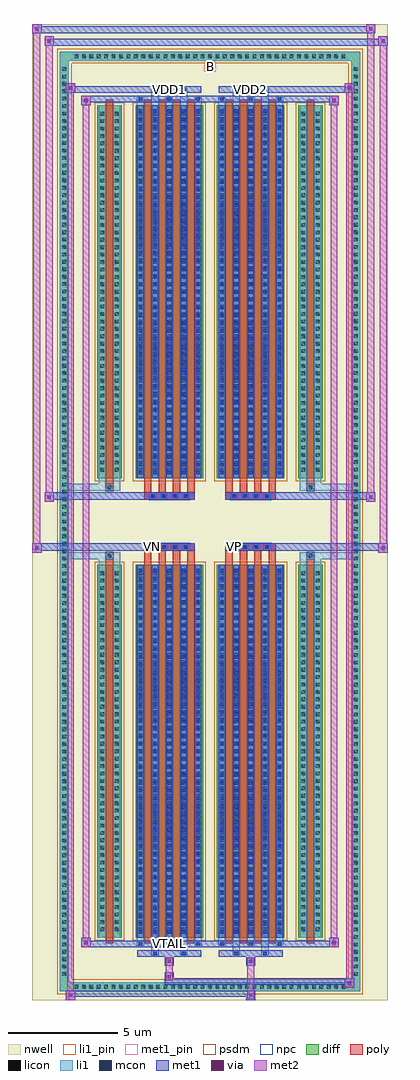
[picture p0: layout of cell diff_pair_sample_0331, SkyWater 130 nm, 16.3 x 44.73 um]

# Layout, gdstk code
import gdstk
lib = gdstk.Library(unit=1e-6, precision=5e-09)
def R(c, l, rs):  # rectangles x0, y0, x1, y1
    for r in rs: c.add(gdstk.rectangle(r[:2], r[2:], *l))
def A(c, l, x, y, w, h, nx, ny, dx, dy):  # array of equal rectangles
    R(c, l, [(x+i*dx, y+j*dy, x+i*dx+w, y+j*dy+h) for i in range(nx) for j in range(ny)])
def P(c, l, *ps):  # polygons
    for p in ps: c.add(gdstk.Polygon(p, *l))
nwell = (64, 20)
diff = (65, 20)
poly = (66, 20)
licon = (66, 44)
li1_pin = (67, 16)
li1 = (67, 20)
mcon = (67, 44)
met1_pin = (68, 16)
met1 = (68, 20)
via = (68, 44)
met2 = (69, 20)
psdm = (94, 20)
npc = (95, 20)

diff_pair_sample_0331 = lib.new_cell('diff_pair_sample_0331')
R(diff_pair_sample_0331, nwell, [(-8.15,-21.93,8.15,22.8), (-5.47,-20.12,-0.01,-0.8), (0.01,-20.12,5.47,-0.8), (-5.47,0.8,-0.01,20.12), (0.01,0.8,5.47,20.12)])
A(diff_pair_sample_0331, diff, -6.325, -21.53, 0.41, 0.41, 37, 2, 0.34, 42.65)
A(diff_pair_sample_0331, diff, -6.88, -20.945, 0.41, 0.41, 1, 123, 0, 0.34)
A(diff_pair_sample_0331, diff, 6.47, -20.945, 0.41, 0.41, 1, 123, 0, 0.34)
R(diff_pair_sample_0331, diff, [(-6.325,-21.53,6.325,-21.12), (-6.88,-20.945,-6.47,20.945), (6.47,-20.945,6.88,20.945), (-5.16,-19.075,-4.05,-1.985), (-3.41,-19.075,-0.32,-1.985), (0.32,-19.075,3.41,-1.985), (4.05,-19.075,5.16,-1.985), (-5.16,1.985,-4.05,19.075), (-3.41,1.985,-0.32,19.075), (0.32,1.985,3.41,19.075), (4.05,1.985,5.16,19.075), (-6.325,21.12,6.325,21.53)])
P(diff_pair_sample_0331, diff, [(6.88,21.53),(-6.88,21.53),(-6.88,-21.12),(-6.47,-21.12),(-6.47,21.12),(6.47,21.12),(6.47,-21.12),(-6.47,-21.12),(-6.88,-21.12),(-6.88,-21.53),(6.88,-21.53)])
A(diff_pair_sample_0331, poly, -3.02, -19.325, 0.33, 17.59, 4, 2, 0.66, 21.06)
A(diff_pair_sample_0331, poly, 0.71, -19.325, 0.33, 17.59, 4, 2, 0.66, 21.06)
A(diff_pair_sample_0331, poly, -3.02, -1.735, 0.33, 0.405, 4, 2, 0.66, 3.065)
A(diff_pair_sample_0331, poly, 0.71, -1.735, 0.33, 0.405, 4, 2, 0.66, 3.065)
A(diff_pair_sample_0331, poly, -2.78, -1.33, 0.33, 0.33, 4, 2, 0.5, 2.33)
A(diff_pair_sample_0331, poly, 0.95, -1.33, 0.33, 0.33, 4, 2, 0.5, 2.33)
R(diff_pair_sample_0331, poly, [(-4.77,-19.325,-4.44,-1.735), (4.44,-19.325,4.77,-1.735), (-4.77,-1.735,-4.44,-1.405), (-4.77,-1.735,-4.44,-1.405), (4.44,-1.735,4.77,-1.405), (4.44,-1.735,4.77,-1.405), (-3.02,-1.33,-0.71,-1), (0.71,-1.33,3.02,-1), (-3.02,1,-0.71,1.33), (0.71,1,3.02,1.33), (-4.77,1.405,-4.44,1.735), (-4.77,1.405,-4.44,1.735), (4.44,1.405,4.77,1.735), (4.44,1.405,4.77,1.735), (-4.77,1.735,-4.44,19.325), (4.44,1.735,4.77,19.325)])
A(diff_pair_sample_0331, licon, -6.205, -21.41, 0.17, 0.17, 37, 2, 0.34, 42.65)
A(diff_pair_sample_0331, licon, -6.76, -20.825, 0.17, 0.17, 1, 123, 0, 0.34)
A(diff_pair_sample_0331, licon, 6.59, -20.825, 0.17, 0.17, 1, 123, 0, 0.34)
A(diff_pair_sample_0331, licon, -5.02, -18.775, 0.17, 0.17, 1, 49, 0, 0.34)
A(diff_pair_sample_0331, licon, -4.36, -18.775, 0.17, 0.17, 1, 49, 0, 0.34)
A(diff_pair_sample_0331, licon, -3.27, -18.775, 0.17, 0.17, 5, 49, 0.66, 0.34)
A(diff_pair_sample_0331, licon, 0.46, -18.775, 0.17, 0.17, 5, 49, 0.66, 0.34)
A(diff_pair_sample_0331, licon, 4.19, -18.775, 0.17, 0.17, 1, 49, 0, 0.34)
A(diff_pair_sample_0331, licon, 4.85, -18.775, 0.17, 0.17, 1, 49, 0, 0.34)
A(diff_pair_sample_0331, licon, -2.7, -1.25, 0.17, 0.17, 4, 2, 0.5, 2.33)
A(diff_pair_sample_0331, licon, 1.03, -1.25, 0.17, 0.17, 4, 2, 0.5, 2.33)
A(diff_pair_sample_0331, licon, -5.02, 2.285, 0.17, 0.17, 1, 49, 0, 0.34)
A(diff_pair_sample_0331, licon, -4.36, 2.285, 0.17, 0.17, 1, 49, 0, 0.34)
A(diff_pair_sample_0331, licon, -3.27, 2.285, 0.17, 0.17, 5, 49, 0.66, 0.34)
A(diff_pair_sample_0331, licon, 0.46, 2.285, 0.17, 0.17, 5, 49, 0.66, 0.34)
A(diff_pair_sample_0331, licon, 4.19, 2.285, 0.17, 0.17, 1, 49, 0, 0.34)
A(diff_pair_sample_0331, licon, 4.85, 2.285, 0.17, 0.17, 1, 49, 0, 0.34)
R(diff_pair_sample_0331, licon, [(-4.69,-1.655,-4.52,-1.485), (4.52,-1.655,4.69,-1.485), (-4.69,1.485,-4.52,1.655), (4.52,1.485,4.69,1.655)])
R(diff_pair_sample_0331, li1_pin, [(-0.25,20.62,0.25,21.12)])
A(diff_pair_sample_0331, li1, -6.285, -21.49, 0.33, 0.33, 37, 2, 0.34, 42.65)
A(diff_pair_sample_0331, li1, -6.84, -20.905, 0.33, 0.33, 1, 123, 0, 0.34)
A(diff_pair_sample_0331, li1, 6.51, -20.905, 0.33, 0.33, 1, 123, 0, 0.34)
A(diff_pair_sample_0331, li1, -3.35, -19.45, 0.33, 0.375, 3, 2, 1.32, 38.525)
A(diff_pair_sample_0331, li1, -3.27, -19.45, 0.17, 0.17, 3, 2, 1.32, 38.73)
A(diff_pair_sample_0331, li1, 0.38, -19.45, 0.33, 0.375, 3, 2, 1.32, 38.525)
A(diff_pair_sample_0331, li1, 0.46, -19.45, 0.17, 0.17, 3, 2, 1.32, 38.73)
A(diff_pair_sample_0331, li1, -3.35, -19.075, 0.33, 17.09, 5, 2, 0.66, 21.06)
A(diff_pair_sample_0331, li1, 0.38, -19.075, 0.33, 17.09, 5, 2, 0.66, 21.06)
A(diff_pair_sample_0331, li1, -3.27, -18.895, 0.17, 0.17, 5, 47, 0.66, 0.36)
A(diff_pair_sample_0331, li1, -3.27, -18.895, 0.17, 16.73, 5, 2, 0.66, 21.06)
A(diff_pair_sample_0331, li1, 0.46, -18.895, 0.17, 0.17, 5, 47, 0.66, 0.36)
A(diff_pair_sample_0331, li1, 0.46, -18.895, 0.17, 16.73, 5, 2, 0.66, 21.06)
A(diff_pair_sample_0331, li1, -5.1, -18.855, 0.33, 0.33, 1, 49, 0, 0.34)
A(diff_pair_sample_0331, li1, -4.44, -18.855, 0.33, 0.33, 1, 49, 0, 0.34)
A(diff_pair_sample_0331, li1, -3.35, -18.855, 0.33, 0.33, 5, 49, 0.66, 0.34)
A(diff_pair_sample_0331, li1, 0.38, -18.855, 0.33, 0.33, 5, 49, 0.66, 0.34)
A(diff_pair_sample_0331, li1, 4.11, -18.855, 0.33, 0.33, 1, 49, 0, 0.34)
A(diff_pair_sample_0331, li1, 4.77, -18.855, 0.33, 0.33, 1, 49, 0, 0.34)
A(diff_pair_sample_0331, li1, -5.1, -1.735, 0.33, 0.33, 3, 2, 0.33, 3.14)
A(diff_pair_sample_0331, li1, 4.11, -1.735, 0.33, 0.33, 3, 2, 0.33, 3.14)
A(diff_pair_sample_0331, li1, -2.78, -1.33, 0.33, 0.33, 4, 2, 0.5, 2.33)
A(diff_pair_sample_0331, li1, 0.95, -1.33, 0.33, 0.33, 4, 2, 0.5, 2.33)
A(diff_pair_sample_0331, li1, -3.27, 2.165, 0.17, 0.17, 5, 47, 0.66, 0.36)
A(diff_pair_sample_0331, li1, 0.46, 2.165, 0.17, 0.17, 5, 47, 0.66, 0.36)
A(diff_pair_sample_0331, li1, -5.1, 2.205, 0.33, 0.33, 1, 49, 0, 0.34)
A(diff_pair_sample_0331, li1, -4.44, 2.205, 0.33, 0.33, 1, 49, 0, 0.34)
A(diff_pair_sample_0331, li1, -3.35, 2.205, 0.33, 0.33, 5, 49, 0.66, 0.34)
A(diff_pair_sample_0331, li1, 0.38, 2.205, 0.33, 0.33, 5, 49, 0.66, 0.34)
A(diff_pair_sample_0331, li1, 4.11, 2.205, 0.33, 0.33, 1, 49, 0, 0.34)
A(diff_pair_sample_0331, li1, 4.77, 2.205, 0.33, 0.33, 1, 49, 0, 0.34)
R(diff_pair_sample_0331, li1, [(-6.88,-21.53,-6.47,-21.12), (-6.88,-21.53,-6.47,-21.12), (-6.47,-21.53,6.47,-21.12), (6.47,-21.53,6.88,-21.12), (6.47,-21.53,6.88,-21.12), (-6.88,-21.12,-6.47,21.12), (6.47,-21.12,6.88,21.12), (-2.69,-19.88,-2.36,-19.075), (-2.61,-19.88,-2.44,-19.71), (-1.37,-19.88,-1.04,-19.075), (-1.29,-19.88,-1.12,-19.71), (1.04,-19.88,1.37,-19.075), (1.12,-19.88,1.29,-19.71), (2.36,-19.88,2.69,-19.075), (2.44,-19.88,2.61,-19.71), (-5.1,-19.075,-4.77,-1.985), (-4.44,-19.075,-4.11,-1.985), (4.11,-19.075,4.44,-1.985), (4.77,-19.075,5.1,-1.985), (-5.1,-1.985,-4.77,-1.405), (-4.44,-1.985,-4.11,-1.405), (4.11,-1.985,4.44,-1.405), (4.77,-1.985,5.1,-1.405), (-6.88,-1.735,-4.77,-1.405), (4.44,-1.735,6.88,-1.405), (-6.88,1.405,-4.77,1.735), (-5.1,1.405,-4.77,1.985), (-4.44,1.405,-4.11,1.985), (4.11,1.405,4.44,1.985), (4.44,1.405,6.88,1.735), (4.77,1.405,5.1,1.985), (-5.1,1.985,-4.77,19.075), (-4.44,1.985,-4.11,19.075), (4.11,1.985,4.44,19.075), (4.77,1.985,5.1,19.075), (-2.69,19.075,-2.36,19.88), (-1.37,19.075,-1.04,19.88), (1.04,19.075,1.37,19.88), (2.36,19.075,2.69,19.88), (-2.61,19.71,-2.44,19.88), (-1.29,19.71,-1.12,19.88), (1.12,19.71,1.29,19.88), (2.44,19.71,2.61,19.88), (-6.88,21.12,-6.47,21.53), (-6.88,21.12,-6.47,21.53), (-6.47,21.12,6.47,21.53), (6.47,21.12,6.88,21.53), (6.47,21.12,6.88,21.53)])
A(diff_pair_sample_0331, mcon, -3.27, -19.45, 0.17, 0.17, 3, 2, 1.32, 38.73)
A(diff_pair_sample_0331, mcon, 0.46, -19.45, 0.17, 0.17, 3, 2, 1.32, 38.73)
A(diff_pair_sample_0331, mcon, -3.27, -18.895, 0.17, 0.17, 5, 47, 0.66, 0.36)
A(diff_pair_sample_0331, mcon, 0.46, -18.895, 0.17, 0.17, 5, 47, 0.66, 0.36)
A(diff_pair_sample_0331, mcon, -2.7, -1.25, 0.17, 0.17, 4, 2, 0.5, 2.33)
A(diff_pair_sample_0331, mcon, 1.03, -1.25, 0.17, 0.17, 4, 2, 0.5, 2.33)
A(diff_pair_sample_0331, mcon, -3.27, 2.165, 0.17, 0.17, 5, 47, 0.66, 0.36)
A(diff_pair_sample_0331, mcon, 0.46, 2.165, 0.17, 0.17, 5, 47, 0.66, 0.36)
R(diff_pair_sample_0331, mcon, [(-2.61,-19.88,-2.44,-19.71), (-1.29,-19.88,-1.12,-19.71), (1.12,-19.88,1.29,-19.71), (2.44,-19.88,2.61,-19.71), (-2.61,19.71,-2.44,19.88), (-1.29,19.71,-1.12,19.88), (1.12,19.71,1.29,19.88), (2.44,19.71,2.61,19.88)])
R(diff_pair_sample_0331, met1_pin, [(-2,-19.49,-1.73,-19.22), (-2.75,-1.29,-2.48,-1.02), (0.98,-1.29,1.25,-1.02), (-2,19.67,-1.73,19.94), (1.73,19.67,2,19.94)])
A(diff_pair_sample_0331, met1, -3.33, -19.51, 0.29, 0.29, 3, 2, 1.32, 38.73)
A(diff_pair_sample_0331, met1, 0.4, -19.51, 0.29, 0.29, 3, 2, 1.32, 38.73)
A(diff_pair_sample_0331, met1, -3.33, -19.075, 0.29, 17.09, 5, 2, 0.66, 21.06)
A(diff_pair_sample_0331, met1, 0.4, -19.075, 0.29, 17.09, 5, 2, 0.66, 21.06)
A(diff_pair_sample_0331, met1, -3.33, -18.955, 0.29, 0.29, 5, 47, 0.66, 0.36)
A(diff_pair_sample_0331, met1, 0.4, -18.955, 0.29, 0.29, 5, 47, 0.66, 0.36)
A(diff_pair_sample_0331, met1, -2.76, -1.31, 0.29, 0.29, 4, 2, 0.5, 2.33)
A(diff_pair_sample_0331, met1, 0.97, -1.31, 0.29, 0.29, 4, 2, 0.5, 2.33)
A(diff_pair_sample_0331, met1, -3.33, 2.105, 0.29, 0.29, 5, 47, 0.66, 0.36)
A(diff_pair_sample_0331, met1, 0.4, 2.105, 0.29, 0.29, 5, 47, 0.66, 0.36)
R(diff_pair_sample_0331, met1, [(-6.61,-21.93,-6.18,-21.5), (1.65,-21.93,2.08,-21.5), (-6.61,-21.79,2.08,-21.5), (6.18,-21.36,6.61,-20.93), (-2.08,-21.22,6.61,-20.93), (-2.08,-21.08,-1.65,-20.65), (-2.08,-20.37,-1.65,-19.94), (1.65,-20.37,2.08,-19.94), (-3.33,-19.94,-0.4,-19.65), (-2.67,-19.94,-2.38,-19.65), (-1.35,-19.94,-1.06,-19.65), (0.4,-19.94,3.33,-19.65), (1.06,-19.94,1.35,-19.65), (2.38,-19.94,2.67,-19.65), (-5.9,-19.51,-5.47,-19.08), (-5.9,-19.51,-3.33,-19.22), (-3.33,-19.51,-0.4,-19.22), (-0.4,-19.51,0.4,-19.22), (0.4,-19.51,3.33,-19.22), (3.33,-19.51,5.9,-19.22), (5.47,-19.51,5.9,-19.08), (-8.15,-1.43,-7.72,-1), (7.72,-1.43,8.15,-1), (-8.15,-1.33,-0.71,-1), (-3.02,-1.33,-0.71,-1), (0.71,-1.33,3.02,-1), (0.71,-1.33,8.15,-1), (-7.58,0.9,-7.15,1.33), (7.15,0.9,7.58,1.33), (-7.58,1,-3.02,1.33), (-3.02,1,-0.71,1.33), (0.71,1,3.02,1.33), (3.02,1,7.58,1.33), (-5.9,19.08,-5.47,19.51), (5.47,19.08,5.9,19.51), (-5.9,19.22,-3.33,19.51), (-3.33,19.22,-0.4,19.51), (-0.4,19.22,0.4,19.51), (0.4,19.22,3.33,19.51), (3.33,19.22,5.9,19.51), (-6.61,19.65,-6.18,20.08), (-6.61,19.65,-3.33,19.94), (-3.33,19.65,-0.4,19.94), (-2.67,19.65,-2.38,19.94), (-1.35,19.65,-1.06,19.94), (0.4,19.65,3.33,19.94), (1.06,19.65,1.35,19.94), (2.38,19.65,2.67,19.94), (3.33,19.65,6.61,19.94), (6.18,19.65,6.61,20.08), (-7.58,21.8,-7.15,22.23), (-7.58,21.8,-5.47,22.13), (-5.47,21.8,5.47,22.13), (5.47,21.8,8.15,22.13), (7.72,21.8,8.15,22.23), (-8.15,22.37,-7.72,22.8), (-8.15,22.37,-5.47,22.7), (-5.47,22.37,5.47,22.7), (5.47,22.37,7.58,22.7), (7.15,22.37,7.58,22.8)])
R(diff_pair_sample_0331, via, [(-6.47,-21.79,-6.32,-21.64), (1.79,-21.79,1.94,-21.64), (6.32,-21.22,6.47,-21.07), (-1.94,-20.94,-1.79,-20.79), (-1.94,-20.23,-1.79,-20.08), (1.79,-20.23,1.94,-20.08), (-5.76,-19.37,-5.61,-19.22), (5.61,-19.37,5.76,-19.22), (-8.01,-1.29,-7.86,-1.14), (7.86,-1.29,8.01,-1.14), (-7.44,1.04,-7.29,1.19), (7.29,1.04,7.44,1.19), (-5.76,19.22,-5.61,19.37), (5.61,19.22,5.76,19.37), (-6.47,19.79,-6.32,19.94), (6.32,19.79,6.47,19.94), (-7.44,21.94,-7.29,22.09), (7.86,21.94,8.01,22.09), (-8.01,22.51,-7.86,22.66), (7.29,22.51,7.44,22.66)])
R(diff_pair_sample_0331, met2, [(-6.61,-21.93,-6.18,-21.5), (-6.54,-21.93,-6.25,20.08), (-6.25,-21.93,-6.18,-21.5), (-6.56,-21.88,-6.23,-21.55), (1.7,-21.88,2.03,-21.55), (1.7,-21.55,2.03,-20.32), (6.18,-21.36,6.61,-20.93), (6.25,-21.36,6.54,20.08), (6.54,-21.36,6.61,-20.93), (6.23,-21.31,6.56,-20.98), (-2.03,-21.03,-1.7,-20.7), (-2.03,-20.7,-1.7,-20.32), (-2.03,-20.32,-1.7,-19.99), (1.7,-20.32,2.03,-19.99), (-5.9,-19.51,-5.47,-19.08), (-5.83,-19.51,-5.54,19.51), (-5.54,-19.51,-5.47,-19.08), (5.47,-19.51,5.9,-19.08), (5.54,-19.51,5.83,19.51), (5.83,-19.51,5.9,-19.08), (-5.85,-19.46,-5.52,-19.13), (5.52,-19.46,5.85,-19.13), (-8.15,-1.43,-7.72,-1), (-8.1,-1.43,-7.77,22.8), (-7.77,-1.43,-7.72,-1), (7.72,-1.43,8.15,-1), (7.77,-1.43,8.1,22.23), (8.1,-1.43,8.15,-1), (-8.1,-1.38,-7.77,-1.05), (7.77,-1.38,8.1,-1.05), (-7.58,0.9,-7.15,1.33), (-7.53,0.9,-7.2,22.23), (-7.2,0.9,-7.15,1.33), (7.15,0.9,7.58,1.33), (7.2,0.9,7.53,22.8), (7.53,0.9,7.58,1.33), (-7.53,0.95,-7.2,1.28), (7.2,0.95,7.53,1.28), (-5.9,19.08,-5.47,19.51), (-5.54,19.08,-5.47,19.51), (5.47,19.08,5.9,19.51), (5.83,19.08,5.9,19.51), (-5.85,19.13,-5.52,19.46), (5.52,19.13,5.85,19.46), (-6.61,19.65,-6.18,20.08), (-6.25,19.65,-6.18,20.08), (6.18,19.65,6.61,20.08), (6.54,19.65,6.61,20.08), (-6.56,19.7,-6.23,20.03), (6.23,19.7,6.56,20.03), (-7.58,21.8,-7.15,22.23), (-7.2,21.8,-7.15,22.23), (7.72,21.8,8.15,22.23), (8.1,21.8,8.15,22.23), (-7.53,21.85,-7.2,22.18), (7.77,21.85,8.1,22.18), (-8.15,22.37,-7.72,22.8), (-7.77,22.37,-7.72,22.8), (7.15,22.37,7.58,22.8), (7.53,22.37,7.58,22.8), (-8.1,22.42,-7.77,22.75), (7.2,22.42,7.53,22.75)])
R(diff_pair_sample_0331, psdm, [(-5.29,-19.205,-3.92,-1.855), (-3.54,-19.205,-0.19,-1.855), (0.19,-19.205,3.54,-1.855), (3.92,-19.205,5.29,-1.855), (-5.29,1.855,-3.92,19.205), (-3.54,1.855,-0.19,19.205), (0.19,1.855,3.54,19.205), (3.92,1.855,5.29,19.205)])
P(diff_pair_sample_0331, psdm, [(7.01,21.66),(-7.01,21.66),(-7.01,-20.99),(-6.34,-20.99),(-6.34,20.99),(6.34,20.99),(6.34,-20.99),(-6.34,-20.99),(-7.01,-20.99),(-7.01,-21.66),(7.01,-21.66)])
A(diff_pair_sample_0331, npc, -2.8, -1.35, 0.37, 0.37, 4, 2, 0.5, 2.33)
A(diff_pair_sample_0331, npc, 0.93, -1.35, 0.37, 0.37, 4, 2, 0.5, 2.33)
R(diff_pair_sample_0331, npc, [(-4.79,-1.755,-4.42,-1.385), (4.42,-1.755,4.79,-1.385), (-2.8,-1.35,-1.93,-0.98), (-2.8,-1.35,-1.93,-0.98), (-2.3,-1.35,-1.43,-0.98), (-2.3,-1.35,-1.43,-0.98), (-1.8,-1.35,-0.93,-0.98), (-1.8,-1.35,-0.93,-0.98), (0.93,-1.35,1.8,-0.98), (0.93,-1.35,1.8,-0.98), (1.43,-1.35,2.3,-0.98), (1.43,-1.35,2.3,-0.98), (1.93,-1.35,2.8,-0.98), (1.93,-1.35,2.8,-0.98), (-2.8,0.98,-1.93,1.35), (-2.8,0.98,-1.93,1.35), (-2.3,0.98,-1.43,1.35), (-2.3,0.98,-1.43,1.35), (-1.8,0.98,-0.93,1.35), (-1.8,0.98,-0.93,1.35), (0.93,0.98,1.8,1.35), (0.93,0.98,1.8,1.35), (1.43,0.98,2.3,1.35), (1.43,0.98,2.3,1.35), (1.93,0.98,2.8,1.35), (1.93,0.98,2.8,1.35), (-4.79,1.385,-4.42,1.755), (4.42,1.385,4.79,1.755)])
diff_pair_sample_0331.add(gdstk.Label('VTAIL', (-1.865,-19.355), layer=68, texttype=5))
diff_pair_sample_0331.add(gdstk.Label('VN', (-2.615,-1.155), layer=68, texttype=5))
diff_pair_sample_0331.add(gdstk.Label('VP', (1.115,-1.155), layer=68, texttype=5))
diff_pair_sample_0331.add(gdstk.Label('B', (0,20.87), layer=67, texttype=5))
diff_pair_sample_0331.add(gdstk.Label('VDD2', (1.865,19.805), layer=68, texttype=5))
diff_pair_sample_0331.add(gdstk.Label('VDD1', (-1.865,19.805), layer=68, texttype=5))

lib.write_gds('diff_pair_sample_0331.gds')
